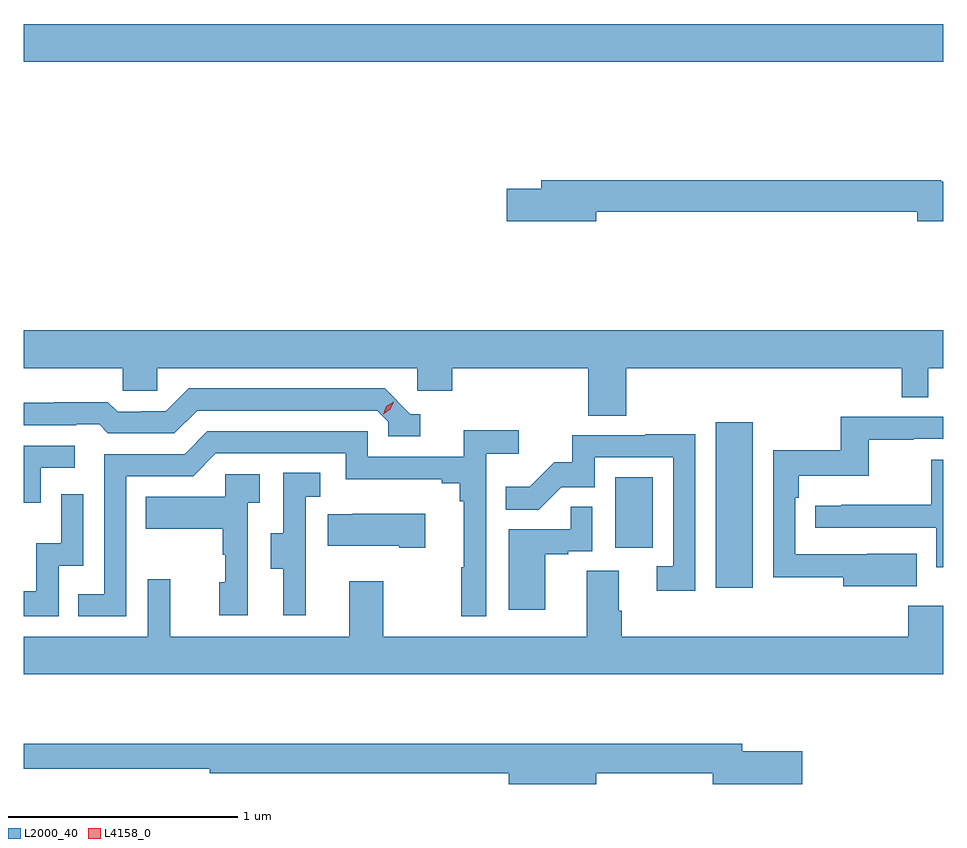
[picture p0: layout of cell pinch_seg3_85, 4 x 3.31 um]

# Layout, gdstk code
import gdstk
lib = gdstk.Library(unit=1e-6, precision=1e-09)
def R(c, l, rs):  # rectangles x0, y0, x1, y1
    for r in rs: c.add(gdstk.rectangle(r[:2], r[2:], *l))
def P(c, l, *ps):  # polygons
    for p in ps: c.add(gdstk.Polygon(p, *l))
L2000_40 = (2000, 40)
L4158_0 = (4158, 0)

pinch_seg3_85 = lib.new_cell('pinch_seg3_85')
R(pinch_seg3_85, L2000_40, [(1058.018,718.608,1058.179,719.329), (1057.58,718.782,1057.744,719.089), (1055.008,720.896,1059.008,721.06)])
P(pinch_seg3_85, L2000_40, [(1057.498,720.244),(1058.894,720.244),(1058.894,720.202),(1059.008,720.202),(1059.008,720.374),(1058.998,720.374),(1058.998,720.38),(1057.259,720.38),(1057.259,720.344),(1057.11,720.344),(1057.11,720.202),(1057.498,720.202)],
  [(1057.628,719.564),(1058.827,719.564),(1058.827,719.437),(1058.943,719.437),(1058.943,719.564),(1059.008,719.564),(1059.008,719.728),(1055.008,719.728),(1055.008,719.564),(1055.439,719.564),(1055.439,719.466),(1055.589,719.466),(1055.589,719.564),(1056.72,719.564),(1056.72,719.466),(1056.872,719.466),(1056.872,719.564),(1057.463,719.564),(1057.463,719.356),(1057.628,719.356)],
  [(1056.733,719.364),(1056.69,719.364),(1056.579,719.475),(1055.726,719.475),(1055.627,719.376),(1055.52,719.376),(1055.52,719.373),(1055.417,719.373),(1055.375,719.416),(1055.142,719.416),(1055.142,719.413),(1055.008,719.413),(1055.008,719.316),(1055.237,719.316),(1055.237,719.319),(1055.336,719.319),(1055.375,719.28),(1055.664,719.28),(1055.763,719.379),(1056.546,719.379),(1056.594,719.331),(1056.594,719.268),(1056.733,719.268)],
  [(1058.891,718.756),(1058.677,718.756),(1058.677,718.755),(1058.364,718.755),(1058.364,719),(1058.378,719),(1058.378,719.096),(1058.683,719.096),(1058.683,719.251),(1058.879,719.251),(1058.879,719.256),(1059.008,719.256),(1059.008,719.352),(1058.562,719.352),(1058.562,719.206),(1058.268,719.206),(1058.268,718.654),(1058.573,718.654),(1058.573,718.616),(1058.891,718.616)],
  [(1055.454,719.094),(1055.745,719.094),(1055.844,719.193),(1056.408,719.193),(1056.408,719.081),(1056.827,719.081),(1056.827,719.062),(1056.904,719.062),(1056.904,718.985),(1056.923,718.985),(1056.923,718.697),(1056.912,718.697),(1056.912,718.485),(1057.02,718.485),(1057.02,719.192),(1057.162,719.192),(1057.162,719.294),(1056.923,719.294),(1056.923,719.178),(1056.504,719.178),(1056.504,719.289),(1055.807,719.289),(1055.708,719.19),(1055.358,719.19),(1055.358,718.581),(1055.245,718.581),(1055.245,718.485),(1055.454,718.485)],
  [(1057.929,719.276),(1057.711,719.276),(1057.711,719.271),(1057.393,719.271),(1057.393,719.154),(1057.316,719.154),(1057.209,719.047),(1057.105,719.047),(1057.105,718.948),(1057.249,718.948),(1057.347,719.046),(1057.491,719.046),(1057.491,719.175),(1057.833,719.175),(1057.833,718.701),(1057.761,718.701),(1057.761,718.596),(1057.929,718.596)],
  [(1055.082,719.13),(1055.23,719.13),(1055.23,719.226),(1055.008,719.226),(1055.008,718.977),(1055.082,718.977)],
  [(1059.008,719.166),(1058.956,719.166),(1058.956,718.97),(1058.563,718.97),(1058.563,718.965),(1058.451,718.965),(1058.451,718.869),(1058.976,718.869),(1058.976,718.697),(1059.008,718.697)],
  [(1056.236,718.701),(1056.234,718.701),(1056.234,719.005),(1056.298,719.005),(1056.298,719.108),(1056.138,719.108),(1056.138,718.845),(1056.083,718.845),(1056.083,718.69),(1056.137,718.69),(1056.137,718.488),(1056.236,718.488)],
  [(1055.982,718.979),(1056.034,718.979),(1056.034,719.103),(1055.886,719.103),(1055.886,719.005),(1055.539,719.005),(1055.539,718.865),(1055.874,718.865),(1055.874,718.751),(1055.884,718.751),(1055.884,718.632),(1055.858,718.632),(1055.858,718.488),(1055.982,718.488)],
  [(1055.16,718.704),(1055.268,718.704),(1055.268,719.014),(1055.172,719.014),(1055.172,718.802),(1055.063,718.802),(1055.063,718.594),(1055.008,718.594),(1055.008,718.485),(1055.16,718.485)],
  [(1057.276,718.755),(1057.376,718.755),(1057.376,718.767),(1057.482,718.767),(1057.482,718.961),(1057.387,718.961),(1057.387,718.863),(1057.118,718.863),(1057.118,718.512),(1057.276,718.512)],
  [(1056.754,718.93),(1056.439,718.93),(1056.439,718.927),(1056.331,718.927),(1056.331,718.79),(1056.641,718.79),(1056.641,718.783),(1056.754,718.783)],
  [(1059.008,718.531),(1058.855,718.531),(1058.855,718.396),(1057.61,718.396),(1057.61,718.508),(1057.597,718.508),(1057.597,718.682),(1057.457,718.682),(1057.457,718.396),(1056.573,718.396),(1056.573,718.636),(1056.425,718.636),(1056.425,718.396),(1055.645,718.396),(1055.645,718.645),(1055.547,718.645),(1055.547,718.396),(1055.008,718.396),(1055.008,718.232),(1059.008,718.232)],
  [(1057.498,717.802),(1058.006,717.802),(1058.006,717.755),(1058.395,717.755),(1058.395,717.897),(1058.134,717.897),(1058.134,717.931),(1055.008,717.931),(1055.008,717.822),(1055.566,717.822),(1055.566,717.821),(1055.818,717.821),(1055.818,717.802),(1057.118,717.802),(1057.118,717.755),(1057.498,717.755)])
P(pinch_seg3_85, L4158_0, [(1056.571,719.364),(1056.571,719.364),(1056.586,719.397),(1056.617,719.417),(1056.617,719.417),(1056.617,719.417),(1056.602,719.384),(1056.571,719.364)])

lib.write_gds('pinch_seg3_85.gds')
